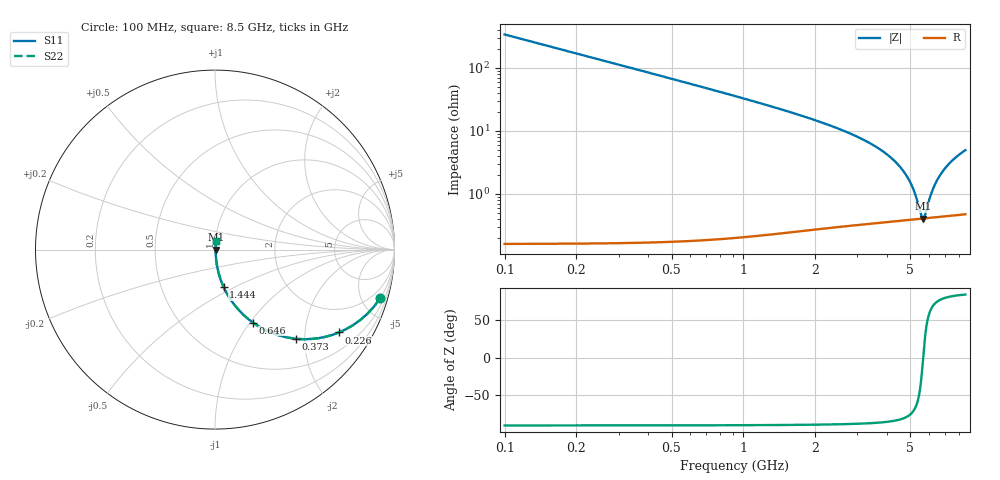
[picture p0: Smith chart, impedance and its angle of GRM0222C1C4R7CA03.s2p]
!Murata Part Number: GRM0222C1C4R7CA03
!These Parameters are Measured in Series Mode Connection
!Data Generated on Mar 30, 2021
!  o--ll--o
!Port1  Port2
!  o------o
!Operation Temp=25[degC], DC Bias Voltage=0[V]
!Freq. Start=100[MHz] Stop=9[GHz] 401[Steps]
# Hz S RI R 50
!Freq.(Hz) S11(Real) S11(Imag) S21(Real) S21(Imag) S12(Real) S12(Imag) S22(Real) S22(Imag)
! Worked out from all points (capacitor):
!   401 points, 100 MHz to 8.5 GHz, reference 50 ohm
!   read as one part in series: C = 4.7 pF near 142 MHz
!   lowest |Z| = 405 mohm at 5.644 GHz (marker M1)
!   series resonance near 5.656 GHz, so ESL is about 170 pH
!   S11 on the Smith chart (normalised r, x): 100 MHz: 1.00, -6.77; 226 MHz: 1.00, -2.99; 373 MHz: 1.00, -1.81; 646 MHz: 1.00, -1.03; 1.444 GHz: 1.00, -0.44; 8.5 GHz: 1.01, +0.10
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1e8  0.9196 -0.2716  0.0804 0.2716  0.0804 0.2716  0.9196 -0.2716
2.26e8  0.6909 -0.4616  0.3091 0.4616  0.3091 0.4616  0.6909 -0.4616
3.73e8  0.4496 -0.4965  0.5504 0.4965  0.5504 0.4965  0.4496 -0.4965
4.99e8  0.3121 -0.4621  0.6879 0.4621  0.6879 0.4621  0.3121 -0.4621
6.46e8  0.2116 -0.4067  0.7884 0.4067  0.7884 0.4067  0.2116 -0.4067
9.61e8  0.1059 -0.3047  0.8941 0.3047  0.8941 0.3047  0.1059 -0.3047
1.444e9  0.0476 -0.2075  0.9524 0.2075  0.9524 0.2075  0.0476 -0.2075
1.507e9  0.0435 -0.1984  0.9565 0.1984  0.9565 0.1984  0.0435 -0.1984
2.914e9  0.0102 -0.0835  0.9898 0.0835  0.9898 0.0835  0.0102 -0.0835
4.3e9  0.0047 -0.0326  0.9953 0.0326  0.9953 0.0326  0.0047 -0.0326
4.699e9  0.00424 -0.0219  0.9958 0.0219  0.9958 0.0219  0.00424 -0.0219
5.014e9  0.00405 -0.0142  0.9959 0.0142  0.9959 0.0142  0.00405 -0.0142
5.266e9  0.00399 -0.00839  0.996 0.00839  0.996 0.00839  0.00399 -0.00839
5.56e9  0.004 -0.00201  0.996 0.00201  0.996 0.00201  0.004 -0.00201
5.644e9  0.00402 -0.000257  0.996 0.000257  0.996 0.000257  0.00402 -0.000257
5.707e9  0.00404 0.00104  0.996 -0.00104  0.996 -0.00104  0.00404 0.00104
6.043e9  0.00419 0.00774  0.9958 -0.00774  0.9958 -0.00774  0.00419 0.00774
6.295e9  0.00435 0.0125  0.9956 -0.0125  0.9956 -0.0125  0.00435 0.0125
6.652e9  0.00465 0.019  0.9954 -0.019  0.9954 -0.019  0.00465 0.019
7.114e9  0.00513 0.027  0.9949 -0.027  0.9949 -0.027  0.00513 0.027
7.744e9  0.00594 0.0372  0.9941 -0.0372  0.9941 -0.0372  0.00594 0.0372
8.5e9  0.0071 0.0486  0.9929 -0.0486  0.9929 -0.0486  0.0071 0.0486
